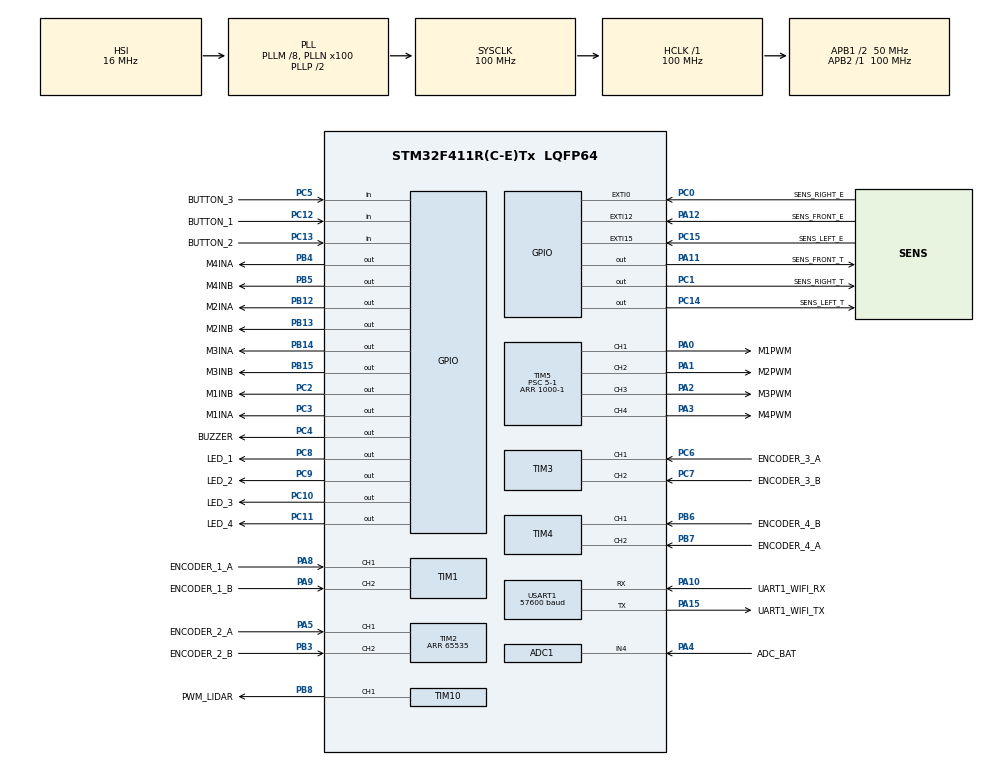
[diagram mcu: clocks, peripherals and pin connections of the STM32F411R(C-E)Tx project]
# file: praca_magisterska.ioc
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PC12.Signal=GPIO_Input
PB14.GPIO_Label=M3INA
PC6.GPIO_Label=ENCODER_3_A
PB6.GPIO_Label=ENCODER_4_B
PA12.GPIO_ModeDefaultEXTI=GPIO_MODE_IT_RISING_FALLING
PB13.Signal=GPIO_Output
PC15-OSC32_OUT.GPIO_Label=SENS_LEFT_E
RCC.SYSCLKSource=RCC_SYSCLKSOURCE_PLLCLK
RCC.APB2TimFreq_Value=100000000
Dma.ADC1.0.Direction=DMA_PERIPH_TO_MEMORY
VP_TIM10_VS_ClockSourceINT.Mode=Enable_Timer
PB6.Signal=S_TIM4_CH1
PC7.Signal=S_TIM3_CH2
PC3.Signal=GPIO_Output
Dma.ADC1.0.MemDataAlignment=DMA_MDATAALIGN_HALFWORD
NVIC.EXTI15_10_IRQn=true\:0\:0\:false\:true\:true\:3\:true\:true
NVIC.TIM1_TRG_COM_TIM11_IRQn=true\:0\:0\:false\:true\:true\:1\:true\:true
PC13-ANTI_TAMP.Signal=GPIO_Input
TIM10.Channel=TIM_CHANNEL_1
PB12.GPIO_Label=M2INA
PC4.GPIO_Label=BUZZER
Dma.ADC1.0.PeriphInc=DMA_PINC_DISABLE
SH.S_TIM4_CH2.0=TIM4_CH2,Encoder_Interface
PA8.Signal=S_TIM1_CH1
TIM9.Prescaler=99
PC0.GPIO_ModeDefaultEXTI=GPIO_MODE_IT_RISING_FALLING
Mcu.Package=LQFP64
PA10.Signal=USART1_RX
SH.S_TIM4_CH1.0=TIM4_CH1,Encoder_Interface
RCC.APB1TimFreq_Value=100000000
Dma.ADC1.0.FIFOMode=DMA_FIFOMODE_DISABLE
NVIC.USART1_IRQn=true\:0\:0\:false\:true\:true\:2\:true\:true
PA4.GPIO_Label=ADC_BAT
TIM9.Period=65535
Dma.ADC1.0.Instance=DMA2_Stream0
PC13-ANTI_TAMP.GPIO_Label=BUTTON_2
PA9.GPIO_Label=ENCODER_1_B
PC2.Signal=GPIO_Output
PC6.Signal=S_TIM3_CH1
PA11.GPIO_Label=SENS_FRONT_T
TIM5.Channel-PWM\ Generation3\ CH3=TIM_CHANNEL_3
TIM11.Prescaler=10000-1
PC0.Signal=GPXTI0
RCC.APB1CLKDivider=RCC_HCLK_DIV2
PC14-OSC32_IN.Signal=GPIO_Output
PA0-WKUP.GPIO_Label=M1PWM
PA0-WKUP.Signal=S_TIM5_CH1
PB8.GPIO_Label=PWM_LIDAR
PA8.GPIO_Label=ENCODER_1_A
Dma.ADC1.0.Priority=DMA_PRIORITY_LOW
PA9.Signal=S_TIM1_CH2
PB14.Signal=GPIO_Output
PA5.Signal=S_TIM2_CH1_ETR
PB4.GPIO_Label=M4INA
PB15.GPIO_Label=M3INB
PA1.GPIO_Label=M2PWM
SH.ADCx_IN4.0=ADC1_IN4,IN4
ADC1.DMAContinuousRequests=ENABLE
TIM2.Period=65535
NVIC.TIM1_BRK_TIM9_IRQn=true\:0\:0\:false\:false\:true\:true\:true
NVIC.TIM1_CC_IRQn=true\:0\:0\:false\:false\:true\:true\:true
PC7.GPIO_Label=ENCODER_3_B
TIM5.Channel-PWM\ Generation2\ CH2=TIM_CHANNEL_2
ADC1.SamplingTime-1\#ChannelRegularConversion=ADC_SAMPLETIME_3CYCLES
PA4.Signal=ADCx_IN4
PB5.Signal=GPIO_Output
ADC1.master=1
PA5.GPIO_Label=ENCODER_2_A
PC12.GPIO_Label=BUTTON_1
USART1.VirtualMode=VM_ASYNC
ADC1.Rank-1\#ChannelRegularConversion=1
PA11.Signal=GPIO_Output
SH.S_TIM2_CH1_ETR.0=TIM2_CH1,Encoder_Interface
TIM5.Channel-PWM\ Generation1\ CH1=TIM_CHANNEL_1
ProjectManager.HeapSize=0x200
NVIC.PriorityGroup=NVIC_PRIORITYGROUP_4
PC3.GPIO_Label=M1INA
TIM9.Channel-Output\ Compare1\ No\ Output=TIM_CHANNEL_1
PC1.Signal=GPIO_Output
Mcu.Family=STM32F4
RCC.CortexFreq_Value=100000000
ADC1.ContinuousConvMode=ENABLE
USART1.BaudRate=57600
PC10.Signal=GPIO_Output
TIM4.EncoderMode=TIM_ENCODERMODE_TI12
TIM3.EncoderMode=TIM_ENCODERMODE_TI12
SH.S_TIM5_CH2.0=TIM5_CH2,PWM Generation2 CH2
PC0.GPIO_Label=SENS_RIGHT_E
TIM1.EncoderMode=TIM_ENCODERMODE_TI12
TIM2.EncoderMode=TIM_ENCODERMODE_TI12
PB13.GPIO_Label=M2INB
PB15.Signal=GPIO_Output
ProjectManager.StackSize=0x400
PA15.GPIO_Label=UART1_WIFI_TX
PA12.Signal=GPXTI12
RCC.HCLKFreq_Value=100000000
SH.S_TIM5_CH3.0=TIM5_CH3,PWM Generation3 CH3
NVIC.DMA2_Stream0_IRQn=true\:0\:0\:false\:false\:true\:false\:true
RCC.AHBFreq_Value=100000000
VP_TIM9_VS_no_output1.Mode=Output Compare1 No Output
RCC.HSE_VALUE=25000000
PA15.Mode=Asynchronous
PC15-OSC32_OUT.GPIO_ModeDefaultEXTI=GPIO_MODE_IT_RISING_FALLING
TIM5.Channel-PWM\ Generation4\ CH4=TIM_CHANNEL_4
PC11.GPIO_Label=LED_4
PA10.GPIO_Label=UART1_WIFI_RX
PB7.Signal=S_TIM4_CH2
SH.S_TIM3_CH1.0=TIM3_CH1,Encoder_Interface
PB7.GPIO_Label=ENCODER_4_A
SH.S_TIM10_CH1.0=TIM10_CH1,PWM Generation1 CH1
TIM4.IC1Polarity=TIM_ICPOLARITY_FALLING
PA2.GPIO_Label=M3PWM
TIM2.IC1Polarity=TIM_ICPOLARITY_FALLING
PA15.Signal=USART1_TX
PB5.GPIO_Label=M4INB
SH.S_TIM5_CH1.0=TIM5_CH1,PWM Generation1 CH1
PC14-OSC32_IN.GPIO_Label=SENS_LEFT_T
PC5.Signal=GPIO_Input
Dma.Request0=ADC1
PC2.GPIO_Label=M1INB
PB4.Signal=GPIO_Output
PA3.Signal=S_TIM5_CH4
PB3.GPIO_Label=ENCODER_2_B
TIM10.Prescaler=5-4
PC10.GPIO_Label=LED_3
PA10.Mode=Asynchronous
PC9.GPIO_Label=LED_2
PC11.Signal=GPIO_Output
PC8.Signal=GPIO_Output
PC4.Signal=GPIO_Output
PA12.GPIO_Label=SENS_FRONT_E
VP_TIM11_VS_ClockSourceINT.Mode=Enable_Timer
PC8.GPIO_Label=LED_1
SH.S_TIM2_CH2.0=TIM2_CH2,Encoder_Interface
Dma.ADC1.0.PeriphDataAlignment=DMA_PDATAALIGN_HALFWORD
SH.S_TIM1_CH1.0=TIM1_CH1,Encoder_Interface
ProjectManager.TargetToolchain=STM32CubeIDE
Dma.ADC1.0.Mode=DMA_CIRCULAR
ADC1.Channel-1\#ChannelRegularConversion=ADC_CHANNEL_4
RCC.LSE_VALUE=32768
PC15-OSC32_OUT.Signal=GPXTI15
PA1.Signal=S_TIM5_CH2
SH.S_TIM3_CH2.0=TIM3_CH2,Encoder_Interface
board=custom
RCC.VCOOutputFreq_Value=200000000
VP_TIM9_VS_ClockSourceINT.Mode=Internal
TIM11.Period=99
TIM10.Period=1000-1
RCC.APB2Freq_Value=100000000
SH.S_TIM1_CH2.0=TIM1_CH2,Encoder_Interface
PC1.GPIO_Label=SENS_RIGHT_T
SH.S_TIM5_CH4.0=TIM5_CH4,PWM Generation4 CH4
Mcu.Name=STM32F411R(C-E)Tx
PA2.Signal=S_TIM5_CH3
RCC.48MHZClocksFreq_Value=50000000
NVIC.EXTI0_IRQn=true\:0\:0\:false\:true\:true\:4\:true\:true
PB3.Signal=S_TIM2_CH2
RCC.SYSCLKFreq_VALUE=100000000
TIM5.Prescaler=5-1
PC5.GPIO_Label=BUTTON_3
VP_TIM11_VS_no_output1.Mode=Output Compare1 No Output
Dma.ADC1.0.MemInc=DMA_MINC_ENABLE
RCC.HSI_VALUE=16000000
ADC1.NbrOfConversionFlag=1
RCC.PLLM=8
RCC.PLLN=100
TIM11.Channel=TIM_CHANNEL_1
PB8.Signal=S_TIM10_CH1
TIM5.Period=1000-1
PC9.Signal=GPIO_Output
RCC.APB1Freq_Value=50000000
PB12.Signal=GPIO_Output
PA3.GPIO_Label=M4PWM

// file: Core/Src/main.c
/* USER CODE BEGIN Header */
/**
  ******************************************************************************
  * @file           : main.c
  * @brief          : Main program body
  ******************************************************************************
  * @attention
  *
  * <h2><center>&copy; Copyright (c) 2022 STMicroelectronics.
  * All rights reserved.</center></h2>
  *
  * This software component is licensed by ST under BSD 3-Clause license,
  * the "License"; You may not use this file except in compliance with the
  * License. You may obtain a copy of the License at:
  *                        opensource.org/licenses/BSD-3-Clause
  *
  ******************************************************************************
  */
/* USER CODE END Header */
#include "main.h"
#include "adc.h"
#include "dma.h"
#include "tim.h"
#include "usart.h"
#include "gpio.h"

/* USER CODE BEGIN Includes */
#include "user_interface.h"
#include "motor_encoder.h"
#include "control.h"
#include "ring_buffer.h"
#include "parser.h"
#include "utils.h"
//#include "pid_controller.h"

/* USER CODE END Includes */

/* USER CODE BEGIN PV */
//uart receive
uint8_t uartTmpReceive;
RingBuffer_t RB_receive;

//parser
uint8_t ReceivedLines;
uint8_t ReceivedData[256];

/* USER CODE END PV */

void SystemClock_Config(void);
static void MX_NVIC_Init(void);

/* USER CODE BEGIN 0 */
	TRobot R;

	TLed LED_1_GREEN;
	TLed LED_2_GREEN;
	TLed LED_3_YELLOW;
	TLed LED_4_RED;

	TMotor MOTOR_Front_Left_1;
	TMotor MOTOR_Front_Right_2;
	TMotor MOTOR_Rear_Left_3;
	TMotor MOTOR_Rear_Right_4;

	TEncoder ENCODER_Motor_1;
	TEncoder ENCODER_Motor_2;
	TEncoder ENCODER_Motor_3;
	TEncoder ENCODER_Motor_4;

	TPid PID_Motor_1;
	TPid PID_Motor_2;
	TPid PID_Motor_3;
	TPid PID_Motor_4;

	extern TSensor Sensor_Left_1;
	extern TSensor Sensor_Front_2;
	extern TSensor Sensor_Right_3;

	uint16_t AdcValue[20];

	uint8_t robot_mode_change_first_scan_flag=0;
	uint16_t wifi_connection_watchdog_counter=0;
	uint8_t is_communication_start_flag= 0;
	bool	isPidsON = true;

/* USER CODE END 0 */

int main(void)
{

  /* MCU Configuration--------------------------------------------------------*/

  /* Reset of all peripherals, Initializes the Flash interface and the Systick. */
  HAL_Init();

  /* Configure the system clock */
  SystemClock_Config();

  /* Initialize all configured peripherals */
  MX_GPIO_Init();
  MX_DMA_Init();
  MX_TIM2_Init();
  MX_TIM1_Init();
  MX_TIM3_Init();
  MX_TIM4_Init();
  MX_TIM5_Init();
  MX_ADC1_Init();
  MX_USART1_UART_Init();
  MX_TIM10_Init();
  MX_TIM11_Init();
  MX_TIM9_Init();

  /* Initialize interrupts */
  MX_NVIC_Init();
  /* USER CODE BEGIN 2 */

  BUZZER_On();
  LEDs_Init(&LED_1_GREEN,LED_1_GPIO_Port,LED_1_Pin);
  LEDs_Init(&LED_2_GREEN,LED_2_GPIO_Port,LED_2_Pin);
  LEDs_Init(&LED_3_YELLOW,LED_3_GPIO_Port,LED_3_Pin);
  LEDs_Init(&LED_4_RED,LED_4_GPIO_Port,LED_4_Pin);

  LEDs_test(LED_1_GREEN,LED_2_GREEN,LED_3_YELLOW,LED_4_RED);

  MOTOR_Init(&MOTOR_Front_Left_1, M3INA_GPIO_Port, M3INA_Pin, M3INB_GPIO_Port, M3INB_Pin,
		  &htim5,TIM_CHANNEL_3);

  MOTOR_Init(&MOTOR_Front_Right_2, M2INB_GPIO_Port, M2INB_Pin, M2INA_GPIO_Port,M2INA_Pin,
		  &htim5,TIM_CHANNEL_2);

  MOTOR_Init(&MOTOR_Rear_Right_4, M1INB_GPIO_Port, M1INB_Pin, M1INA_GPIO_Port,M1INA_Pin,
		  &htim5, TIM_CHANNEL_1);

  MOTOR_Init(&MOTOR_Rear_Left_3, M4INA_GPIO_Port,M4INA_Pin,M4INB_GPIO_Port,M4INB_Pin,
		  &htim5, TIM_CHANNEL_4);

  ENCODER_Init(&MOTOR_Front_Left_1, &ENCODER_Motor_1, &htim1);
  ENCODER_Init(&MOTOR_Front_Right_2, &ENCODER_Motor_2, &htim2);
  ENCODER_Init(&MOTOR_Rear_Left_3, &ENCODER_Motor_3, &htim3);
  ENCODER_Init(&MOTOR_Rear_Right_4, &ENCODER_Motor_4, &htim4);

  MOTOR_PID_Connect(&MOTOR_Front_Left_1, &PID_Motor_1);
  MOTOR_PID_Connect(&MOTOR_Front_Right_2, &PID_Motor_2);
  MOTOR_PID_Connect(&MOTOR_Rear_Left_3, &PID_Motor_3);
  MOTOR_PID_Connect(&MOTOR_Rear_Right_4, &PID_Motor_4);

  PID_Init(&PID_Motor_1,MOTOR_Kp, MOTOR_Ki, MOTOR_Kd,  MOTOR_ANTI_WINDUP);
  PID_Init(&PID_Motor_2,MOTOR_Kp, MOTOR_Ki, MOTOR_Kd,  MOTOR_ANTI_WINDUP);
  PID_Init(&PID_Motor_3,MOTOR_Kp, MOTOR_Ki, MOTOR_Kd,  MOTOR_ANTI_WINDUP);
  PID_Init(&PID_Motor_4,MOTOR_Kp, MOTOR_Ki, MOTOR_Kd,  MOTOR_ANTI_WINDUP);

  ROBOT_Init(&R);

  //PID_Init(&MOTOR_Front_Left_1, &PID_Motor_1, 2, 0, 0, 10);

  HAL_TIM_Encoder_Start(&htim1,TIM_CHANNEL_ALL);
  HAL_TIM_Encoder_Start(&htim2,TIM_CHANNEL_ALL);
  HAL_TIM_Encoder_Start(&htim3,TIM_CHANNEL_ALL);
  HAL_TIM_Encoder_Start(&htim4,TIM_CHANNEL_ALL);

  SENSORS_Init();

   BUZZER_Off();
   //timer 10Hz start
   __HAL_TIM_ENABLE_IT(&htim11,TIM_IT_UPDATE);
   HAL_TIM_OC_Start_IT(&htim11,TIM_CHANNEL_1);

   //UART WIFI232
   HAL_UART_Receive_IT(&huart1, &uartTmpReceive, 1);

   HAL_ADC_Start_DMA(&hadc1, (uint32_t*) AdcValue, 20);

  /* USER CODE END 2 */

  /* Infinite loop */
  /* USER CODE BEGIN WHILE */
  while (1)
  {

	  if(ReceivedLines > 0)
	  {
		  is_communication_start_flag =1;
		  Parser_TakeLine(&RB_receive, ReceivedData);
		  ReceivedLines--;
		  Parser_Parse(ReceivedData);
	  }

	  if(Right == BUTTON_Read())
	  {
	  //temporary!!!
	  HAL_UART_Transmit(&huart1,(uint8_t*)"Button test", 11, 1000);
	  HAL_Delay(1000);
	  //end

	  }
	  else if(Left == BUTTON_Read())
	  {
		  R.isMotorsPidOn = true;
	  }
	  else if (Center == BUTTON_Read())
	  {

		  MAP_Check_Obstacles();

	  }
	  else
	  {

	  }

    /* USER CODE END WHILE */

    /* USER CODE BEGIN 3 */
	  LED_Heart(&LED_3_YELLOW,50);
  }
  /* USER CODE END 3 */
}

void SystemClock_Config(void)
{
  RCC_OscInitTypeDef RCC_OscInitStruct = {0};
  RCC_ClkInitTypeDef RCC_ClkInitStruct = {0};

  /** Configure the main internal regulator output voltage
  */
  __HAL_RCC_PWR_CLK_ENABLE();
  __HAL_PWR_VOLTAGESCALING_CONFIG(PWR_REGULATOR_VOLTAGE_SCALE1);
  /** Initializes the RCC Oscillators according to the specified parameters
  * in the RCC_OscInitTypeDef structure.
  */
  RCC_OscInitStruct.OscillatorType = RCC_OSCILLATORTYPE_HSI;
  RCC_OscInitStruct.HSIState = RCC_HSI_ON;
  RCC_OscInitStruct.HSICalibrationValue = RCC_HSICALIBRATION_DEFAULT;
  RCC_OscInitStruct.PLL.PLLState = RCC_PLL_ON;
  RCC_OscInitStruct.PLL.PLLSource = RCC_PLLSOURCE_HSI;
  RCC_OscInitStruct.PLL.PLLM = 8;
  RCC_OscInitStruct.PLL.PLLN = 100;
  RCC_OscInitStruct.PLL.PLLP = RCC_PLLP_DIV2;
  RCC_OscInitStruct.PLL.PLLQ = 4;
  if (HAL_RCC_OscConfig(&RCC_OscInitStruct) != HAL_OK)
  {
    Error_Handler();
  }
  /** Initializes the CPU, AHB and APB buses clocks
  */
  RCC_ClkInitStruct.ClockType = RCC_CLOCKTYPE_HCLK|RCC_CLOCKTYPE_SYSCLK
                              |RCC_CLOCKTYPE_PCLK1|RCC_CLOCKTYPE_PCLK2;
  RCC_ClkInitStruct.SYSCLKSource = RCC_SYSCLKSOURCE_PLLCLK;
  RCC_ClkInitStruct.AHBCLKDivider = RCC_SYSCLK_DIV1;
  RCC_ClkInitStruct.APB1CLKDivider = RCC_HCLK_DIV2;
  RCC_ClkInitStruct.APB2CLKDivider = RCC_HCLK_DIV1;

  if (HAL_RCC_ClockConfig(&RCC_ClkInitStruct, FLASH_LATENCY_3) != HAL_OK)
  {
    Error_Handler();
  }
}

/**
  * @brief NVIC Configuration.
  * @retval None
  */
static void MX_NVIC_Init(void)
{
  /* TIM1_TRG_COM_TIM11_IRQn interrupt configuration */
  HAL_NVIC_SetPriority(TIM1_TRG_COM_TIM11_IRQn, 0, 0);
  HAL_NVIC_EnableIRQ(TIM1_TRG_COM_TIM11_IRQn);
  /* USART1_IRQn interrupt configuration */
  HAL_NVIC_SetPriority(USART1_IRQn, 0, 0);
  HAL_NVIC_EnableIRQ(USART1_IRQn);
  /* EXTI15_10_IRQn interrupt configuration */
  HAL_NVIC_SetPriority(EXTI15_10_IRQn, 0, 0);
  HAL_NVIC_EnableIRQ(EXTI15_10_IRQn);
  /* EXTI0_IRQn interrupt configuration */
  HAL_NVIC_SetPriority(EXTI0_IRQn, 0, 0);
  HAL_NVIC_EnableIRQ(EXTI0_IRQn);
}

/* USER CODE BEGIN 4 */
//UART WIFI Callback
void HAL_UART_RxCpltCallback(UART_HandleTypeDef *huart)
{
	if(huart->Instance == USART1) // wifi232
	{
		if(RB_OK==RB_Write(&RB_receive,uartTmpReceive))
		{
			if(uartTmpReceive==ENDLINE)
			   {
				   ReceivedLines++;
			   }
			   HAL_UART_Receive_IT(&huart1, &uartTmpReceive, 1);
		}
	}
}

/**
  * @brief  This function is for TIM11 Callback 100Hz cyclic interrupt for e.g. wheel speed calculation
  *
  */
void HAL_TIM_OC_DelayElapsedCallback(TIM_HandleTypeDef *htim)
{

	if(htim->Instance == TIM11 ) // 10ms interrupt for motors calculate;
	{
		if(htim->Channel == HAL_TIM_ACTIVE_CHANNEL_1)
		{
			ENCODER_Speed_Calculate(&MOTOR_Front_Left_1);
			ENCODER_Speed_Calculate(&MOTOR_Front_Right_2);
			ENCODER_Speed_Calculate(&MOTOR_Rear_Left_3);
			ENCODER_Speed_Calculate(&MOTOR_Rear_Right_4);

			ROBOT_Calculate(&R);

			//forward, to setpoint PID
			if(R.control_mode == Go2Point_Mode && R.isG2PControllerEN == true) ROBOT_Go2Point(&R);

			if(true == R.isMotorsPidOn && true == isPidsON )
			{
				PID_Controller(&PID_Motor_1);
				PID_Controller(&PID_Motor_2);
				PID_Controller(&PID_Motor_3);
				PID_Controller(&PID_Motor_4);

				MOTOR_Set_Speed(&MOTOR_Front_Left_1);
				MOTOR_Set_Speed(&MOTOR_Front_Right_2);
				MOTOR_Set_Speed(&MOTOR_Rear_Left_3);
				MOTOR_Set_Speed(&MOTOR_Rear_Right_4);
			}
			if(is_communication_start_flag >0) COMUNICATION_Watchdog_Incerement();

			RareInterrupt();
			if(R.isPathModeEN == true)ROBOT_GoPath(&R);

			if(	R.Motors[0].pid->Set_Value >0.2 || R.Motors[0].pid->Set_Value <-0.2 ||
				R.Motors[1].pid->Set_Value >0.2 || R.Motors[1].pid->Set_Value <-0.2 ||
				R.Motors[2].pid->Set_Value >0.2 || R.Motors[2].pid->Set_Value <-0.2 ||
				R.Motors[3].pid->Set_Value >0.2 || R.Motors[3].pid->Set_Value <-0.2)
			{
				isPidsON = true;//R.isMotorsPidOn = false;
			}
			else
			{
				isPidsON = false;
				for(uint8_t i=0; i<4; i++)
				{
					MOTOR_PWM_Set_Width(&R.Motors[i],0);
					R.Motors[i].pid->Set_Value = 0.0;
					R.Motors[i].pid->out = 0.0;

				}
			}

		}
	}
}
/* USER CODE END 4 */

void Error_Handler(void)
{
  __disable_irq();
  while (1)
  {
  }
}

/************************ (C) COPYRIGHT STMicroelectronics *****END OF FILE****/
